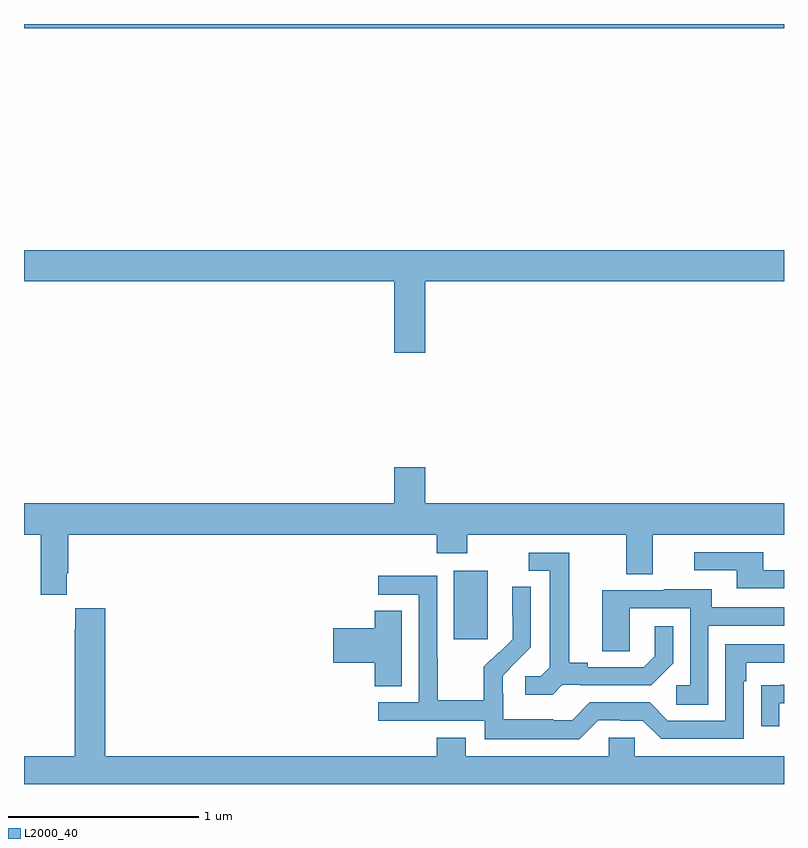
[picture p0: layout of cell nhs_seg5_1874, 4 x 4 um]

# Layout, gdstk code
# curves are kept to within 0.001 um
import gdstk
lib = gdstk.Library(unit=1e-6, precision=1e-09)
def R(c, l, rs):  # rectangles x0, y0, x1, y1
    for r in rs: c.add(gdstk.rectangle(r[:2], r[2:], *l))
def P(c, l, *ps):  # polygons
    for p in ps: c.add(gdstk.Polygon(p, *l))
L2000_40 = (2000, 40)

nhs_seg5_1874 = lib.new_cell('nhs_seg5_1874')
R(nhs_seg5_1874, L2000_40, [(225.263,837.561,225.442,837.922), (223,840.776,227,840.799)])
P(nhs_seg5_1874, L2000_40, [(225.112,839.444),(227,839.444),(227,839.608),(223,839.608),(223,839.444),(224.948,839.444),(224.948,839.07),(225.112,839.07)],
  [(223.225,837.907),(223.232,837.907),(223.232,838.112),(225.173,838.112),(225.173,838.013),(225.333,838.013),(225.333,838.112),(226.169,838.112),(226.169,837.904),(226.309,837.904),(226.309,838.112),(227,838.112),(227,838.276),(225.112,838.276),(225.112,838.465),(224.948,838.465),(224.948,838.276),(223,838.276),(223,838.112),(223.088,838.112),(223.088,837.795),(223.225,837.795)],
  [(227,837.924),(226.891,837.924),(226.891,838.02),(226.527,838.02),(226.527,837.924),(226.751,837.924),(226.751,837.828),(227,837.828)],
  [(225.834,837.321),(225.928,837.321),(225.928,837.318),(226.3,837.318),(226.416,837.434),(226.416,837.628),(226.319,837.628),(226.319,837.471),(226.262,837.414),(225.967,837.414),(225.967,837.437),(225.871,837.437),(225.871,838.017),(225.657,838.017),(225.657,837.921),(225.767,837.921),(225.767,837.413),(225.72,837.366),(225.639,837.366),(225.639,837.269),(225.782,837.269)],
  [(226.023,837.135),(226.139,837.135),(226.139,837.132),(226.257,837.132),(226.353,837.036),(226.788,837.036),(226.788,837.341),(226.801,837.341),(226.801,837.438),(227,837.438),(227,837.534),(226.692,837.534),(226.692,837.132),(226.389,837.132),(226.293,837.228),(225.978,837.228),(225.885,837.135),(225.785,837.135),(225.785,837.139),(225.522,837.139),(225.522,837.273),(225.52,837.273),(225.52,837.37),(225.666,837.518),(225.666,837.836),(225.57,837.836),(225.57,837.682),(225.572,837.682),(225.572,837.56),(225.501,837.489),(225.498,837.492),(225.421,837.415),(225.421,837.241),(225.177,837.241),(225.177,837.464),(225.174,837.464),(225.174,837.894),(224.865,837.894),(224.865,837.795),(225.078,837.795),(225.078,837.228),(224.865,837.228),(224.865,837.132),(225.426,837.132),(225.426,837.035),(225.923,837.035)],
  [(226.602,837.633),(227,837.633),(227,837.729),(226.621,837.729),(226.621,837.823),(226.367,837.823),(226.367,837.819),(226.043,837.819),(226.043,837.499),(226.188,837.499),(226.188,837.723),(226.506,837.723),(226.506,837.318),(226.434,837.318),(226.434,837.217),(226.602,837.217)],
  [(227,836.944),(226.215,836.944),(226.215,837.042),(226.077,837.042),(226.077,836.944),(225.325,836.944),(225.325,837.043),(225.173,837.043),(225.173,836.944),(223.427,836.944),(223.427,837.724),(223.271,837.724),(223.271,837.611),(223.267,837.611),(223.267,836.944),(223,836.944),(223,836.799),(227,836.799)],
  [(224.989,837.71),(224.846,837.71),(224.846,837.62),(224.628,837.62),(224.628,837.437),(224.846,837.437),(224.846,837.313),(224.989,837.313)],
  [(226.975,837.225),(227,837.225),(227,837.321),(226.981,837.321),(226.981,837.32),(226.879,837.32),(226.879,837.102),(226.975,837.102)])

lib.write_gds('nhs_seg5_1874.gds')
